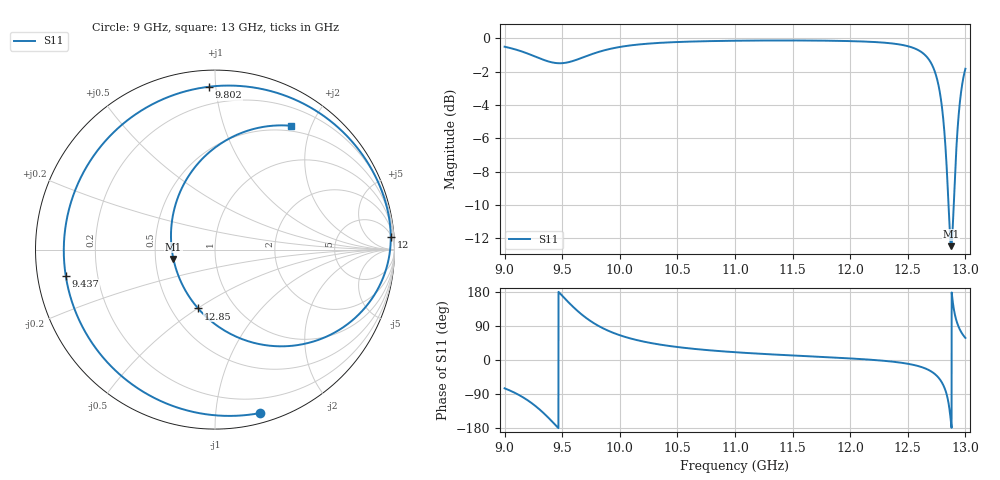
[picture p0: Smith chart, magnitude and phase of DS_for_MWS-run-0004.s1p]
! TOUCHSTONE file generated by CST DESIGN STUDIO
! Date and time: Tue Feb  4 18:03:57 2025
! Project name: C:\Work\MatlabApps\UnitCellOptimizationMatlab\CST\unitcell.cst
! Tree item: Tasks\Sweep1\SPara1\S-Parameters
! Header version: 2024
! Port assignment regex: !\s*Touchstone port\s*([0-9]+)\s*=\s*(CST MWS port|CST DES external port|CST DES block port)\s*(.+)\s* \(\"(.*)\"\)(\s*mode\s*([0-9]+))?.*
! Touchstone port assignment:
! Touchstone port 1 = CST DES external port 1 ("")
# GHz S MA R 50
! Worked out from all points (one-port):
!   4001 points, 9 GHz to 13 GHz, reference 50 ohm
!   lowest |S11| = -12.5 dB at 12.88 GHz (marker M1), VSWR 1.62, Z = 31 - j3.4 ohm
!   |S11| at or under -10 dB: 12.85331 GHz to 12.89859 GHz (45.28 MHz wide, 0.352 % of centre)
!   S11 on the Smith chart (normalised r, x): 9 GHz: 0.08, -1.31; 9.437 GHz: 0.09, -0.09; 9.802 GHz: 0.09, +0.96; 12 GHz: 6, +26; 12.85 GHz: 0.68, -0.50; 13 GHz: 0.43, +1.71
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9  0.9444 -74.7
9.136  0.9172 -94.3
9.241  0.8894 -115.1
9.335  0.8633 -139.1
9.437  0.8443 -170.2
9.5  0.8428 169.5
9.567  0.8506 148.4
9.649  0.869 125.3
9.802  0.9079 92.2
10  0.9428 65.4
10.215  0.9628 48.0
10.5  0.9757 34.2
11  0.9844 20.6
11.5  0.9862 11.9
11.997  0.9819 4.2
12  0.9818 4.1
12.5  0.9481 -9.9
12.631  0.9034 -19.8
12.717  0.8239 -32.9
12.76  0.7407 -44.3
12.799  0.6117 -60.9
12.825  0.4837 -78.7
12.849  0.3412 -106.0
12.876  0.2375 -167.4
12.903  0.3437 128.6
12.937  0.5629 90.7
12.965  0.7002 73.0
13  0.8107 58.3
